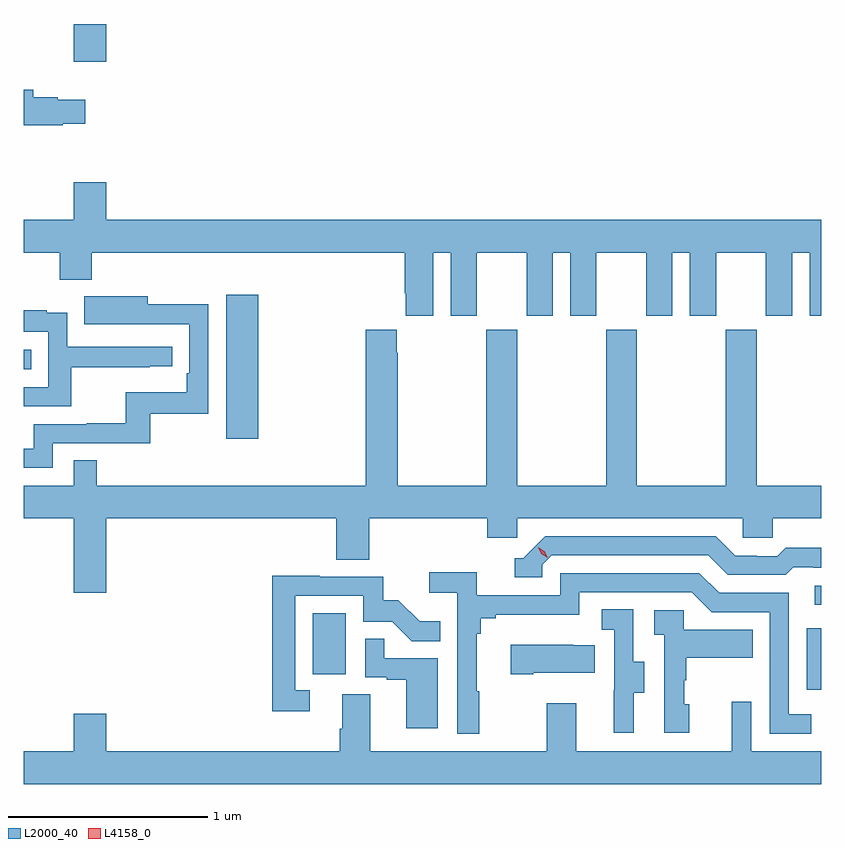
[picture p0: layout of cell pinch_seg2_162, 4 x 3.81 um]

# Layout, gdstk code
import gdstk
lib = gdstk.Library(unit=1e-6, precision=1e-09)
def R(c, l, rs):  # rectangles x0, y0, x1, y1
    for r in rs: c.add(gdstk.rectangle(r[:2], r[2:], *l))
def P(c, l, *ps):  # polygons
    for p in ps: c.add(gdstk.Polygon(p, *l))
L2000_40 = (2000, 40)
L4158_0 = (4158, 0)

pinch_seg2_162 = lib.new_cell('pinch_seg2_162')
R(pinch_seg2_162, L2000_40, [(1091.76,625.464,1091.833,625.774), (1089.284,625.542,1089.448,625.849), (1091.799,625.89,1091.833,625.986), (1088.849,626.724,1089.01,627.445), (1087.833,627.072,1087.871,627.168), (1088.084,628.614,1088.248,628.802)])
P(pinch_seg2_162, L2000_40, [(1088.03,628.301),(1088.143,628.301),(1088.143,628.423),(1088.004,628.423),(1088.004,628.436),(1087.882,628.436),(1087.882,628.472),(1087.833,628.472),(1087.833,628.294),(1088.03,628.294)],
  [(1089.886,627.656),(1089.974,627.656),(1089.974,627.339),(1090.105,627.339),(1090.105,627.656),(1090.355,627.656),(1090.355,627.339),(1090.486,627.339),(1090.486,627.656),(1090.574,627.656),(1090.574,627.339),(1090.705,627.339),(1090.705,627.656),(1090.955,627.656),(1090.955,627.339),(1091.086,627.339),(1091.086,627.656),(1091.174,627.656),(1091.174,627.339),(1091.305,627.339),(1091.305,627.656),(1091.555,627.656),(1091.555,627.339),(1091.686,627.339),(1091.686,627.656),(1091.774,627.656),(1091.774,627.339),(1091.833,627.339),(1091.833,627.82),(1088.248,627.82),(1088.248,628.009),(1088.084,628.009),(1088.084,627.82),(1087.833,627.82),(1087.833,627.656),(1088.014,627.656),(1088.014,627.521),(1088.174,627.521),(1088.174,627.656),(1089.743,627.656),(1089.743,627.451),(1089.749,627.451),(1089.749,627.339),(1089.886,627.339)],
  [(1087.98,626.7),(1088.467,626.7),(1088.467,626.847),(1088.76,626.847),(1088.76,627.398),(1088.455,627.398),(1088.455,627.436),(1088.137,627.436),(1088.137,627.296),(1088.351,627.296),(1088.351,627.297),(1088.664,627.297),(1088.664,627.052),(1088.651,627.052),(1088.651,626.956),(1088.346,626.956),(1088.346,626.801),(1088.149,626.801),(1088.149,626.796),(1087.884,626.796),(1087.884,626.673),(1087.833,626.673),(1087.833,626.577),(1087.98,626.577)],
  [(1088.072,627.082),(1088.465,627.082),(1088.465,627.087),(1088.578,627.087),(1088.578,627.183),(1088.052,627.183),(1088.052,627.355),(1087.949,627.355),(1087.949,627.367),(1087.833,627.367),(1087.833,627.258),(1087.956,627.258),(1087.956,626.982),(1087.833,626.982),(1087.833,626.886),(1088.072,626.886)],
  [(1088.248,626.324),(1089.401,626.324),(1089.401,626.116),(1089.566,626.116),(1089.566,626.324),(1090.157,626.324),(1090.157,626.226),(1090.308,626.226),(1090.308,626.324),(1091.439,626.324),(1091.439,626.226),(1091.589,626.226),(1091.589,626.324),(1091.833,626.324),(1091.833,626.488),(1091.508,626.488),(1091.508,627.268),(1091.353,627.268),(1091.353,626.488),(1090.908,626.488),(1090.908,627.268),(1090.753,627.268),(1090.753,626.488),(1090.308,626.488),(1090.308,627.268),(1090.153,627.268),(1090.153,626.488),(1089.708,626.488),(1089.708,627.155),(1089.703,627.155),(1089.703,627.268),(1089.548,627.268),(1089.548,626.488),(1088.201,626.488),(1088.201,626.615),(1088.085,626.615),(1088.085,626.488),(1087.833,626.488),(1087.833,626.324),(1088.084,626.324),(1088.084,625.95),(1088.248,625.95)],
  [(1090.434,626.091),(1090.482,626.139),(1091.265,626.139),(1091.364,626.04),(1091.653,626.04),(1091.692,626.079),(1091.791,626.079),(1091.791,626.076),(1091.833,626.076),(1091.833,626.176),(1091.653,626.176),(1091.611,626.133),(1091.508,626.133),(1091.508,626.136),(1091.401,626.136),(1091.302,626.235),(1090.449,626.235),(1090.338,626.124),(1090.295,626.124),(1090.295,626.028),(1090.434,626.028)],
  [(1090.117,625.457),(1090.105,625.457),(1090.105,625.745),(1090.124,625.745),(1090.124,625.822),(1090.201,625.822),(1090.201,625.841),(1090.62,625.841),(1090.62,625.953),(1091.184,625.953),(1091.283,625.854),(1091.574,625.854),(1091.574,625.245),(1091.783,625.245),(1091.783,625.341),(1091.67,625.341),(1091.67,625.95),(1091.32,625.95),(1091.221,626.049),(1090.524,626.049),(1090.524,625.938),(1090.106,625.938),(1090.106,626.054),(1089.867,626.054),(1089.867,625.952),(1090.008,625.952),(1090.008,625.245),(1090.117,625.245)],
  [(1089.268,625.461),(1089.195,625.461),(1089.195,625.935),(1089.537,625.935),(1089.537,625.806),(1089.681,625.806),(1089.779,625.708),(1089.923,625.708),(1089.923,625.807),(1089.819,625.807),(1089.712,625.914),(1089.636,625.914),(1089.636,626.031),(1089.317,626.031),(1089.317,626.036),(1089.079,626.036),(1089.079,625.356),(1089.268,625.356)],
  [(1090.891,625.45),(1090.945,625.45),(1090.945,625.605),(1090.89,625.605),(1090.89,625.868),(1090.731,625.868),(1090.731,625.765),(1090.794,625.765),(1090.794,625.461),(1090.793,625.461),(1090.793,625.248),(1090.891,625.248)],
  [(1091.17,625.392),(1091.145,625.392),(1091.145,625.511),(1091.155,625.511),(1091.155,625.625),(1091.489,625.625),(1091.489,625.765),(1091.142,625.765),(1091.142,625.863),(1090.995,625.863),(1090.995,625.739),(1091.046,625.739),(1091.046,625.248),(1091.17,625.248)],
  [(1089.91,625.623),(1089.641,625.623),(1089.641,625.721),(1089.546,625.721),(1089.546,625.527),(1089.653,625.527),(1089.653,625.515),(1089.752,625.515),(1089.752,625.272),(1089.91,625.272)],
  [(1090.387,625.55),(1090.697,625.55),(1090.697,625.687),(1090.589,625.687),(1090.589,625.69),(1090.275,625.69),(1090.275,625.543),(1090.387,625.543)],
  [(1091.833,625.156),(1091.481,625.156),(1091.481,625.405),(1091.384,625.405),(1091.384,625.156),(1090.603,625.156),(1090.603,625.396),(1090.456,625.396),(1090.456,625.156),(1089.571,625.156),(1089.571,625.442),(1089.431,625.442),(1089.431,625.268),(1089.419,625.268),(1089.419,625.156),(1088.248,625.156),(1088.248,625.345),(1088.084,625.345),(1088.084,625.156),(1087.833,625.156),(1087.833,624.992),(1091.833,624.992)])
P(pinch_seg2_162, L4158_0, [(1090.46,626.126),(1090.429,626.146),(1090.413,626.178),(1090.413,626.179),(1090.413,626.179),(1090.444,626.159),(1090.46,626.127),(1090.46,626.126)])

lib.write_gds('pinch_seg2_162.gds')
